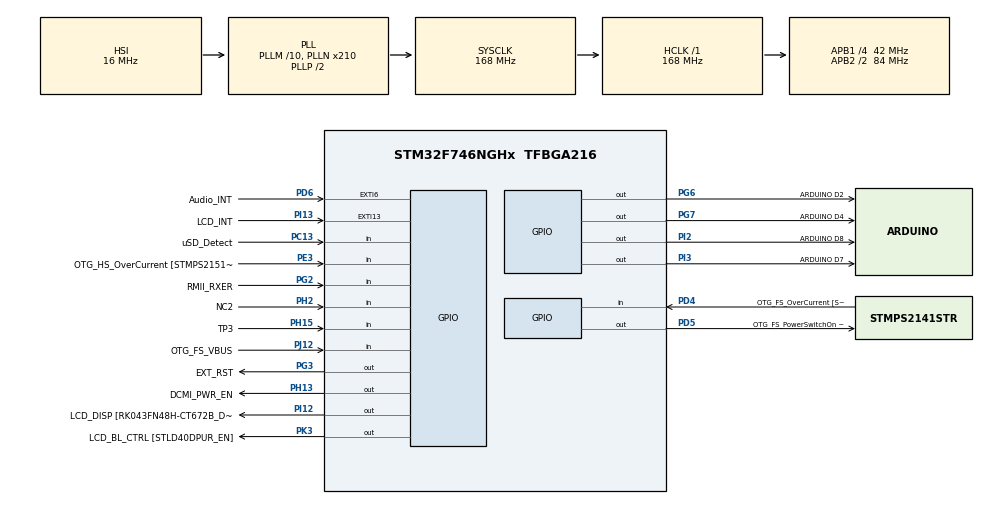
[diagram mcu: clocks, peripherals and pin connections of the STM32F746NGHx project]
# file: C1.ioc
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Mcu.Family=STM32F7
Mcu.Name=STM32F746NGHx
Mcu.Package=TFBGA216
NVIC.PriorityGroup=NVIC_PRIORITYGROUP_4
NVIC.TIM6_DAC_IRQn=true\:0\:0\:false\:false\:true\:false\:true
NVIC.TimeBase=TIM6_DAC_IRQn
NVIC.TimeBaseIP=TIM6
PA0/WKUP.GPIO_Label=ARDUINO A0
PA0/WKUP.GPIO_Mode=GPIO_MODE_ANALOG
PA0/WKUP.GPIO_PuPd=GPIO_NOPULL
PA0/WKUP.Signal=ADCx_IN0
PA1.GPIO_Label=RMII_REF_CLK [LAN8742A-CZ-TR_REFCLK0]
PA1.Signal=ETH_REF_CLK
PA10.GPIO_Label=OTG_FS_ID
PA10.Signal=USB_OTG_FS_ID
PA11.GPIO_Label=OTG_FS_N
PA11.Signal=USB_OTG_FS_DM
PA12.GPIO_Label=OTG_FS_P
PA12.Signal=USB_OTG_FS_DP
PA13.GPIO_Label=SWDIO
PA13.Signal=SYS_JTMS-SWDIO
PA14.GPIO_Label=SWCLK
PA14.Signal=SYS_JTCK-SWCLK
PA15.GPIO_Label=ARDUINO PWM/D9
PA15.GPIO_ModeDefaultPP=GPIO_MODE_AF_PP
PA15.GPIO_PuPd=GPIO_NOPULL
PA15.GPIO_Speed=GPIO_SPEED_FREQ_LOW
PA15.Signal=S_TIM2_CH1_ETR
PA2.GPIO_Label=RMII_MDIO [LAN8742A-CZ-TR_MDIO]
PA2.Signal=ETH_MDIO
PA3.GPIO_Label=ULPI_D0 [USB3320C-EZK_D0]
PA3.Signal=USB_OTG_HS_ULPI_D0
PA4.GPIO_Label=DCMI_HSYNC
PA4.Signal=DCMI_HSYNC
PA5.GPIO_Label=ULPI_CLK [USB3320C-EZK_CLKOUT]
PA5.Signal=USB_OTG_HS_ULPI_CK
PA6.Signal=DCMI_PIXCLK
PA7.GPIO_Label=RMII_CRS_DV [LAN8742A-CZ-TR_CRS_DV]
PA7.Signal=ETH_CRS_DV
PA8.GPIO_Label=ARDUINO PWM/D10
PA8.GPIO_ModeDefaultPP=GPIO_MODE_AF_PP
PA8.GPIO_PuPd=GPIO_NOPULL
PA8.GPIO_Speed=GPIO_SPEED_FREQ_LOW
PA8.Signal=S_TIM1_CH1
PA9.GPIO_Label=VCP_TX [STM32F103CBT6_PA3]
PA9.GPIO_Mode=GPIO_MODE_AF_PP
PA9.GPIO_PuPd=GPIO_NOPULL
PA9.GPIO_Speed=GPIO_SPEED_FREQ_LOW
PA9.Signal=USART1_TX
PB0.GPIO_Label=ULPI_D1 [USB3320C-EZK_D1]
PB0.Signal=USB_OTG_HS_ULPI_D1
PB1.GPIO_Label=ULPI_D2 [USB3320C-EZK_D2]
PB1.Signal=USB_OTG_HS_ULPI_D2
PB10.GPIO_Label=ULPI_D3 [USB3320C-EZK_D3]
PB10.Signal=USB_OTG_HS_ULPI_D3
PB11.GPIO_Label=ULPI_D4 [USB3320C-EZK_D4]
PB11.Signal=USB_OTG_HS_ULPI_D4
PB12.GPIO_Label=ULPI_D5 [USB3320C-EZK_D5]
PB12.Signal=USB_OTG_HS_ULPI_D5
PB13.GPIO_Label=ULPI_D6 [USB3320C-EZK_D6]
PB13.Signal=USB_OTG_HS_ULPI_D6
PB14.GPIO_Label=ARDUINO MISO/D12
PB14.GPIO_Mode=GPIO_MODE_AF_PP
PB14.GPIO_PuPd=GPIO_NOPULL
PB14.GPIO_Speed=GPIO_SPEED_FREQ_LOW
PB14.Signal=SPI2_MISO
PB15.GPIO_Label=ARDUINO MOSI/PWM/D11
PB15.GPIO_Mode=GPIO_MODE_AF_PP
PB15.GPIO_PuPd=GPIO_NOPULL
PB15.GPIO_Speed=GPIO_SPEED_FREQ_LOW
PB15.Signal=SPI2_MOSI
PB2.Signal=QUADSPI_CLK
PB3.GPIO_Label=SWO
PB3.Signal=SYS_JTDO-SWO
PB4.GPIO_Label=ARDUINO PWM/D3
PB4.GPIO_ModeDefaultPP=GPIO_MODE_AF_PP
PB4.GPIO_PuPd=GPIO_NOPULL
PB4.GPIO_Speed=GPIO_SPEED_FREQ_LOW
PB4.Signal=S_TIM3_CH1
PB5.GPIO_Label=ULPI_D7 [USB3320C-EZK_D7]
PB5.Signal=USB_OTG_HS_ULPI_D7
PB6.GPIO_Label=QSPI_NCS [N25Q128A13EF840E_S]
PB6.Signal=QUADSPI_BK1_NCS
PB7.GPIO_Label=VCP_RX [STM32F103CBT6_PA2]
PB7.GPIO_Mode=GPIO_MODE_AF_PP
PB7.GPIO_PuPd=GPIO_NOPULL
PB7.GPIO_Speed=GPIO_SPEED_FREQ_LOW
PB7.Signal=USART1_RX
PB8.GPIO_Label=ARDUINO SCL/D15
PB8.GPIO_Mode=GPIO_MODE_AF_OD
PB8.GPIO_PuPd=GPIO_NOPULL
PB8.GPIO_Speed=GPIO_SPEED_FREQ_LOW
PB8.Signal=I2C1_SCL
PB9.GPIO_Label=ARDUINO SDA/D14
PB9.GPIO_Mode=GPIO_MODE_AF_OD
PB9.GPIO_PuPd=GPIO_NOPULL
PB9.GPIO_Speed=GPIO_SPEED_FREQ_LOW
PB9.Signal=I2C1_SDA
PC0.GPIO_Label=ULPI_STP [USB3320C-EZK_STP]
PC0.Signal=USB_OTG_HS_ULPI_STP
PC1.GPIO_Label=RMII_MDC [LAN8742A-CZ-TR_MDC]
PC1.Signal=ETH_MDC
PC10.GPIO_Label=SDMMC_D2
PC10.Signal=SDMMC1_D2
PC11.GPIO_Label=SDMMC_D3
PC11.Signal=SDMMC1_D3
PC12.GPIO_Label=SDMMC_CK
PC12.Signal=SDMMC1_CK
PC13.GPIO_Label=uSD_Detect
PC13.Signal=GPIO_Input
PC14/OSC32_IN.GPIO_Label=RCC_OSC32_IN
PC14/OSC32_IN.Signal=RCC_OSC32_IN
PC15/OSC32_OUT.GPIO_Label=RCC_OSC32_OUT
PC15/OSC32_OUT.Signal=RCC_OSC32_OUT
PC2.GPIO_Label=ULPI_DIR [USB3320C-EZK_DIR]
PC2.Signal=USB_OTG_HS_ULPI_DIR
PC3.GPIO_Label=FMC_SDCKE0 [MT48LC4M32B2B5-6A_CKE]
PC3.Signal=FMC_SDCKE0
PC4.GPIO_Label=RMII_RXD0 [LAN8742A-CZ-TR_RXD0]
PC4.Signal=ETH_RXD0
PC5.GPIO_Label=RMII_RXD1 [LAN8742A-CZ-TR_RXD1]
PC5.Signal=ETH_RXD1
PC6.GPIO_Label=ARDUINO TX/D1
PC6.Signal=USART6_TX
PC7.GPIO_Label=ARDUINO RX/D0
PC7.Signal=USART6_RX
PC8.Signal=SDMMC1_D0
PC9.Signal=SDMMC1_D1
PD0.GPIO_Label=FMC_D2 [MT48LC4M32B2B5-6A_DQ2]
PD0.Signal=FMC_D2_DA2
PD1.GPIO_Label=FMC_D3 [MT48LC4M32B2B5-6A_DQ3]
PD1.Signal=FMC_D3_DA3
PD10.GPIO_Label=FMC_D15 [MT48LC4M32B2B5-6A_DQ15]
PD10.Signal=FMC_D15_DA15
PD11.GPIO_Label=QSPI_D0 [N25Q128A13EF840E_DQ0]
PD11.Signal=QUADSPI_BK1_IO0
PD12.GPIO_Label=QSPI_D1 [N25Q128A13EF840E_DQ1]
PD12.Signal=QUADSPI_BK1_IO1
PD13.GPIO_Label=QSPI_D3 [N25Q128A13EF840E_DQ3]
PD13.Signal=QUADSPI_BK1_IO3
PD14.GPIO_Label=FMC_D0 [MT48LC4M32B2B5-6A_DQ0]
PD14.Signal=FMC_D0_DA0
PD15.GPIO_Label=FMC_D1 [MT48LC4M32B2B5-6A_DQ1]
PD15.Signal=FMC_D1_DA1
PD2.GPIO_Label=SDMMC_D0
PD2.Signal=SDMMC1_CMD
PD3.GPIO_Label=DCMI_D5
PD3.Signal=DCMI_D5
PD4.GPIO_Label=OTG_FS_OverCurrent [STMPS2141STR_Fault]
PD4.Signal=GPIO_Input
PD5.GPIO_Label=OTG_FS_PowerSwitchOn [STMPS2141STR_EN]
PD5.PinState=GPIO_PIN_SET
PD5.Signal=GPIO_Output
PD6.GPIO_Label=Audio_INT
PD6.GPIO_ModeDefaultEXTI=GPIO_MODE_EVT_RISING
PD6.Signal=GPXTI6
PD7.GPIO_Label=SPDIF_RX0 [74LVC1G04SE_4]
PD7.Signal=SPDIFRX_IN0
PD8.GPIO_Label=FMC_D13 [MT48LC4M32B2B5-6A_DQ13]
PD8.Signal=FMC_D13_DA13
PD9.GPIO_Label=FMC_D14 [MT48LC4M32B2B5-6A_DQ14]
PD9.Signal=FMC_D14_DA14
PE0.GPIO_Label=FMC_NBL0 [MT48LC4M32B2B5-6A_DQM0]
PE0.Signal=FMC_NBL0
PE1.GPIO_Label=FMC_NBL1 [MT48LC4M32B2B5-6A_DQM1]
PE1.Signal=FMC_NBL1
PE10.GPIO_Label=FMC_D7 [MT48LC4M32B2B5-6A_DQ7]
PE10.Signal=FMC_D7_DA7
PE11.GPIO_Label=FMC_D8 [MT48LC4M32B2B5-6A_DQ8]
PE11.Signal=FMC_D8_DA8
PE12.GPIO_Label=FMC_D9 [MT48LC4M32B2B5-6A_DQ9]
PE12.Signal=FMC_D9_DA9
PE13.GPIO_Label=FMC_D10 [MT48LC4M32B2B5-6A_DQ10]
PE13.Signal=FMC_D10_DA10
PE14.GPIO_Label=FMC_D11 [MT48LC4M32B2B5-6A_DQ11]
PE14.Signal=FMC_D11_DA11
PE15.GPIO_Label=FMC_D12 [MT48LC4M32B2B5-6A_DQ12]
PE15.Signal=FMC_D12_DA12
PE2.GPIO_Label=QSPI_D2 [N25Q128A13EF840E_DQ2]
PE2.Signal=QUADSPI_BK1_IO2
PE3.GPIO_Label=OTG_HS_OverCurrent [STMPS2151STR_FAULT]
PE3.Signal=GPIO_Input
PE4.GPIO_Label=LCD_B0 [RK043FN48H-CT672B_B0]
PE4.Signal=LTDC_B0
PE5.GPIO_Label=DCMI_D6
PE5.Signal=DCMI_D6
PE6.GPIO_Label=DCMI_D7
PE6.Signal=DCMI_D7
PE7.GPIO_Label=FMC_D4 [MT48LC4M32B2B5-6A_DQ4]
PE7.Signal=FMC_D4_DA4
PE8.GPIO_Label=FMC_D5 [MT48LC4M32B2B5-6A_DQ5]
PE8.Signal=FMC_D5_DA5
PE9.GPIO_Label=FMC_D6 [MT48LC4M32B2B5-6A_DQ6]
PE9.Signal=FMC_D6_DA6
PF0.GPIO_Label=FMC_A0 [MT48LC4M32B2B5-6A_A0]
PF0.Signal=FMC_A0
PF1.GPIO_Label=FMC_A1 [MT48LC4M32B2B5-6A_A1]
PF1.Signal=FMC_A1
PF10.GPIO_Label=ARDUINO A1
PF10.GPIO_Mode=GPIO_MODE_ANALOG
PF10.GPIO_PuPd=GPIO_NOPULL
PF10.Signal=ADC3_IN8
PF11.GPIO_Label=FMC_SDNRAS [MT48LC4M32B2B5-6A_RAS]
PF11.Signal=FMC_SDNRAS
PF12.GPIO_Label=FMC_A6 [MT48LC4M32B2B5-6A_A6]
PF12.Signal=FMC_A6
PF13.GPIO_Label=FMC_A7 [MT48LC4M32B2B5-6A_A7]
PF13.Signal=FMC_A7
PF14.GPIO_Label=FMC_A8 [MT48LC4M32B2B5-6A_A8]
PF14.Signal=FMC_A8
PF15.GPIO_Label=FMC_A9 [MT48LC4M32B2B5-6A_A9]
PF15.Signal=FMC_A9
PF2.GPIO_Label=FMC_A2 [MT48LC4M32B2B5-6A_A2]
PF2.Signal=FMC_A2
PF3.GPIO_Label=FMC_A3 [MT48LC4M32B2B5-6A_A3]
PF3.Signal=FMC_A3
PF4.GPIO_Label=FMC_A4 [MT48LC4M32B2B5-6A_A4]
PF4.Signal=FMC_A4
PF5.GPIO_Label=FMC_A5 [MT48LC4M32B2B5-6A_A5]
PF5.Signal=FMC_A5
PF6.GPIO_Label=ARDUINO A5
PF6.GPIO_Mode=GPIO_MODE_ANALOG
PF6.GPIO_PuPd=GPIO_NOPULL
PF6.Signal=ADC3_IN4
PF7.GPIO_Label=ARDUINO A4
PF7.GPIO_Mode=GPIO_MODE_ANALOG
PF7.GPIO_PuPd=GPIO_NOPULL
PF7.Signal=ADC3_IN5
PF8.GPIO_Label=ARDUINO A3
PF8.GPIO_Mode=GPIO_MODE_ANALOG
PF8.GPIO_PuPd=GPIO_NOPULL
PF8.Signal=ADC3_IN6
PF9.GPIO_Label=ARDUINO A2
PF9.GPIO_Mode=GPIO_MODE_ANALOG
PF9.GPIO_PuPd=GPIO_NOPULL
PF9.Signal=ADC3_IN7
PG0.GPIO_Label=FMC_A10 [MT48LC4M32B2B5-6A_A10]
PG0.Signal=FMC_A10
PG1.GPIO_Label=FMC_A11 [MT48LC4M32B2B5-6A_A11]
PG1.Signal=FMC_A11
PG10.GPIO_Label=SAI2_SDB [WM8994ECS/R_ADCDAT1]
PG10.Signal=SAI2_SD_B
PG11.GPIO_Label=RMII_TX_EN [LAN8742A-CZ-TR_TXEN]
PG11.Signal=ETH_TX_EN
PG12.GPIO_Label=LCD_B4 [RK043FN48H-CT672B_B4]
PG12.Signal=LTDC_B4
PG13.GPIO_Label=RMII_TXD0 [LAN8742A-CZ-TR_TXD0]
PG13.Signal=ETH_TXD0
PG14.GPIO_Label=RMII_TXD1 [LAN8742A-CZ-TR_TXD1]
PG14.Signal=ETH_TXD1
PG15.GPIO_Label=FMC_SDNCAS [MT48LC4M32B2B5-6A_CAS]
PG15.Signal=FMC_SDNCAS
PG2.GPIO_Label=RMII_RXER
PG2.Signal=GPIO_Input
PG3.GPIO_Label=EXT_RST
PG3.Signal=GPIO_Output
PG4.GPIO_Label=FMC_BA0 [MT48LC4M32B2B5-6A_BA0]
PG4.Signal=FMC_A14_BA0
PG5.GPIO_Label=FMC_BA1 [MT48LC4M32B2B5-6A_BA1]
PG5.Signal=FMC_A15_BA1
PG6.GPIO_Label=ARDUINO D2
PG6.Signal=GPIO_Output
PG7.GPIO_Label=ARDUINO D4
PG7.Signal=GPIO_Output
PG8.GPIO_Label=FMC_SDCLK [MT48LC4M32B2B5-6A_CLK]
PG8.Signal=FMC_SDCLK
PG9.GPIO_Label=DCMI_VSYNC
PG9.Signal=DCMI_VSYNC
PH0/OSC_IN.GPIO_Label=OSC_25M [NZ2520SB-25.00M_OUT]
PH0/OSC_IN.Signal=RCC_OSC_IN
PH1/OSC_OUT.Signal=RCC_OSC_OUT
PH10.GPIO_Label=DCMI_D1
PH10.Signal=DCMI_D1
PH11.GPIO_Label=DCMI_D2
PH11.Signal=DCMI_D2
PH12.GPIO_Label=DCMI_D3
PH12.Signal=DCMI_D3
PH13.GPIO_Label=DCMI_PWR_EN
PH13.Signal=GPIO_Output
PH14.GPIO_Label=DCMI_D4
PH14.Signal=DCMI_D4
PH15.GPIO_Label=TP3
PH15.Signal=GPIO_Input
PH2.GPIO_Label=NC2
PH2.Signal=GPIO_Input
PH3.GPIO_Label=FMC_SDNE0 [MT48LC4M32B2B5-6A_CS]
PH3.Signal=FMC_SDNE0
PH4.GPIO_Label=ULPI_NXT [USB3320C-EZK_NXT]
PH4.Signal=USB_OTG_HS_ULPI_NXT
PH5.GPIO_Label=FMC_SDNME [MT48LC4M32B2B5-6A_WE]
PH5.Signal=FMC_SDNWE
PH6.GPIO_Label=ARDUINO PWM/D6
PH6.Signal=S_TIM12_CH1
PH7.GPIO_Label=LCD_SCL [RK043FN48H-CT672B_SCL]
PH7.Signal=I2C3_SCL
PH8.GPIO_Label=LCD_SDA [RK043FN48H-CT672B_SDA]
PH8.Signal=I2C3_SDA
PH9.GPIO_Label=DCMI_D0
PH9.Signal=DCMI_D0
PI0.GPIO_Label=ARDUINO PWM/CS/D5
PI0.GPIO_ModeDefaultPP=GPIO_MODE_AF_PP
PI0.GPIO_PuPd=GPIO_NOPULL
PI0.GPIO_Speed=GPIO_SPEED_FREQ_LOW
PI0.Signal=S_TIM5_CH4
PI1.GPIO_Label=ARDUINO SCK/D13
PI1.GPIO_Mode=GPIO_MODE_AF_PP
PI1.GPIO_PuPd=GPIO_NOPULL
PI1.GPIO_Speed=GPIO_SPEED_FREQ_LOW
PI1.Signal=SPI2_SCK
PI10.GPIO_Label=LCD_HSYNC [RK043FN48H-CT672B_HSYNC]
PI10.Signal=LTDC_HSYNC
PI12.GPIO_Label=LCD_DISP [RK043FN48H-CT672B_DISP] 
PI12.Signal=GPIO_Output
PI13.GPIO_Label=LCD_INT
PI13.GPIO_ModeDefaultEXTI=GPIO_MODE_EVT_RISING
PI13.Signal=GPXTI13
PI14.GPIO_Label=LCD_CLK [RK043FN48H-CT672B_CLK]
PI14.Signal=LTDC_CLK
PI15.GPIO_Label=LCD_R0 [RK043FN48H-CT672B_R0]
PI15.Signal=LTDC_R0
PI2.GPIO_Label=ARDUINO D8
PI2.Signal=GPIO_Output
PI3.GPIO_Label=ARDUINO D7
PI3.Signal=GPIO_Output
PI4.GPIO_Label=SAI2_MCLKA [WM8994ECS/R_MCLK1]
PI4.Signal=SAI2_MCLK_A
PI5.GPIO_Label=SAI2_SCKA [WM8994ECS/R_BCLK1]
PI5.Signal=SAI2_SCK_A
PI6.GPIO_Label=SAI2_SDA [WM8994ECS/R_DACDAT1]
PI6.Signal=SAI2_SD_A
PI7.GPIO_Label=SAI2_FSA [WM8994ECS/R_LRCLK1]
PI7.Signal=SAI2_FS_A
PI8.GPIO_Label=NC1 [TP2]
PI8.Signal=RTC_TS
PI9.GPIO_Label=LCD_VSYNC [RK043FN48H-CT672B_VSYNC]
PI9.Signal=LTDC_VSYNC
PJ0.GPIO_Label=LCD_R1 [RK043FN48H-CT672B_R1]
PJ0.Signal=LTDC_R1
PJ1.GPIO_Label=LCD_R2 [RK043FN48H-CT672B_R2]
PJ1.Signal=LTDC_R2
PJ10.GPIO_Label=LCD_G3 [RK043FN48H-CT672B_G3]
PJ10.Signal=LTDC_G3
PJ11.GPIO_Label=LCD_G4 [RK043FN48H-CT672B_G4]
PJ11.Signal=LTDC_G4
PJ12.GPIO_Label=OTG_FS_VBUS
PJ12.Signal=GPIO_Input
PJ13.GPIO_Label=LCD_B1 [RK043FN48H-CT672B_B1]
PJ13.Signal=LTDC_B1
PJ14.GPIO_Label=LCD_B2 [RK043FN48H-CT672B_B2]
PJ14.Signal=LTDC_B2
PJ15.GPIO_Label=LCD_B3 [RK043FN48H-CT672B_B3]
PJ15.Signal=LTDC_B3
PJ2.GPIO_Label=LCD_R3 [RK043FN48H-CT672B_R3]
PJ2.Signal=LTDC_R3
PJ3.GPIO_Label=LCD_R4 [RK043FN48H-CT672B_R4]
PJ3.Signal=LTDC_R4
PJ4.GPIO_Label=LCD_R5 [RK043FN48H-CT672B_R5]
PJ4.Signal=LTDC_R5
PJ5.GPIO_Label=LCD_R6 [RK043FN48H-CT672B_R6]
PJ5.Signal=LTDC_R6
PJ6.GPIO_Label=LCD_R7 [RK043FN48H-CT672B_R7]
PJ6.Signal=LTDC_R7
PJ7.GPIO_Label=LCD_G0 [RK043FN48H-CT672B_G0]
PJ7.Signal=LTDC_G0
PJ8.GPIO_Label=LCD_G1 [RK043FN48H-CT672B_G1]
PJ8.Signal=LTDC_G1
PJ9.GPIO_Label=LCD_G2 [RK043FN48H-CT672B_G2]
PJ9.Signal=LTDC_G2
PK0.GPIO_Label=LCD_G5 [RK043FN48H-CT672B_G5]
PK0.Signal=LTDC_G5
PK1.GPIO_Label=LCD_G6 [RK043FN48H-CT672B_G6]
PK1.Signal=LTDC_G6
PK2.GPIO_Label=LCD_G7 [RK043FN48H-CT672B_G7]
PK2.Signal=LTDC_G7
PK3.GPIO_Label=LCD_BL_CTRL [STLD40DPUR_EN]
PK3.Signal=GPIO_Output
PK4.GPIO_Label=LCD_B5 [RK043FN48H-CT672B_B5]
PK4.Signal=LTDC_B5
PK5.GPIO_Label=LCD_B6 [RK043FN48H-CT672B_B6]
PK5.Signal=LTDC_B6
PK6.GPIO_Label=LCD_B7 [RK043FN48H-CT672B_B7]
PK6.Signal=LTDC_B7
PK7.GPIO_Label=LCD_DE [RK043FN48H-CT672B_DE]
PK7.Signal=LTDC_DE
ProjectManager.HeapSize=0x200
ProjectManager.StackSize=0x400
ProjectManager.TargetToolchain=STM32CubeIDE
RCC.AHBFreq_Value=168000000
RCC.APB1CLKDivider=RCC_HCLK_DIV4
RCC.APB1Freq_Value=42000000
RCC.APB1TimFreq_Value=84000000
RCC.APB2CLKDivider=RCC_HCLK_DIV2
RCC.APB2Freq_Value=84000000
RCC.APB2TimFreq_Value=168000000
RCC.CortexFreq_Value=168000000
RCC.HCLKFreq_Value=168000000
RCC.HSE_VALUE=25000000
RCC.HSI_VALUE=16000000
RCC.LSE_VALUE=32768
RCC.PLLM=10
RCC.PLLN=210
RCC.PLLSourceVirtual=RCC_PLLSOURCE_HSI
RCC.SYSCLKFreq_VALUE=168000000
RCC.SYSCLKSource=RCC_SYSCLKSOURCE_PLLCLK
RCC.USBFreq_Value=168000000
RCC.VCOOutputFreq_Value=336000000
SH.ADCx_IN0.0=ADC3_IN0
SH.FMC_A0.0=FMC_A0
SH.FMC_A1.0=FMC_A1
SH.FMC_A10.0=FMC_A10
SH.FMC_A11.0=FMC_A11
SH.FMC_A14_BA0.0=FMC_BA0
SH.FMC_A15_BA1.0=FMC_BA1
SH.FMC_A2.0=FMC_A2
SH.FMC_A3.0=FMC_A3
SH.FMC_A4.0=FMC_A4
SH.FMC_A5.0=FMC_A5
SH.FMC_A6.0=FMC_A6
SH.FMC_A7.0=FMC_A7
SH.FMC_A8.0=FMC_A8
SH.FMC_A9.0=FMC_A9
SH.FMC_D0_DA0.0=FMC_D0
SH.FMC_D10_DA10.0=FMC_D10
SH.FMC_D11_DA11.0=FMC_D11
SH.FMC_D12_DA12.0=FMC_D12
SH.FMC_D13_DA13.0=FMC_D13
SH.FMC_D14_DA14.0=FMC_D14
SH.FMC_D15_DA15.0=FMC_D15
SH.FMC_D1_DA1.0=FMC_D1
SH.FMC_D2_DA2.0=FMC_D2
SH.FMC_D3_DA3.0=FMC_D3
SH.FMC_D4_DA4.0=FMC_D4
SH.FMC_D5_DA5.0=FMC_D5
SH.FMC_D6_DA6.0=FMC_D6
SH.FMC_D7_DA7.0=FMC_D7
SH.FMC_D8_DA8.0=FMC_D8
SH.FMC_D9_DA9.0=FMC_D9
SH.FMC_NBL0.0=FMC_NBL0
SH.FMC_NBL1.0=FMC_NBL1
SH.FMC_SDCLK.0=FMC_SDCLK
SH.FMC_SDNCAS.0=FMC_SDNCAS
SH.FMC_SDNRAS.0=FMC_SDNRAS
SH.FMC_SDNWE.0=FMC_SDNWE
SH.S_TIM12_CH1.0=TIM12_CH1
SH.S_TIM1_CH1.0=TIM1_CH1
SH.S_TIM2_CH1_ETR.0=TIM2_CH1
SH.S_TIM3_CH1.0=TIM3_CH1
SH.S_TIM5_CH4.0=TIM5_CH4
VP_SYS_VS_tim6.Mode=TIM6
board=STM32F746G-DISCO

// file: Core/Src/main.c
/* USER CODE BEGIN Header */
/**
  ******************************************************************************
  * @file           : main.c
  * @brief          : Main program body
  ******************************************************************************
  * @attention
  *
  * <h2><center>&copy; Copyright (c) 2021 STMicroelectronics.
  * All rights reserved.</center></h2>
  *
  * This software component is licensed by ST under BSD 3-Clause license,
  * the "License"; You may not use this file except in compliance with the
  * License. You may obtain a copy of the License at:
  *                        opensource.org/licenses/BSD-3-Clause
  *
  ******************************************************************************
  */
/* USER CODE END Header */
#include "main.h"

/* USER CODE BEGIN Includes */
#include "FreeRTOS.h"
#include "task.h"
#include <stdio.h>
/* USER CODE END Includes */

/* USER CODE BEGIN PM */
#define USER_BUTTON_Pin GPIO_PIN_11
#define USER_BUTTON_GPIO_Port GPIOI
/* USER CODE END PM */

/* USER CODE BEGIN PV */
#define DWT_CTRL (*(volatile uint32_t*)0xE0001000)
/* USER CODE END PV */

void SystemClock_Config(void);
static void MX_GPIO_Init(void);
/* USER CODE BEGIN PFP */
static void Task1_Handler(void * parameter);
static void Task2_Handler(void * parameter);
static void Task3_Handler(void* parameter);
/* USER CODE END PFP */

int main(void)
{
  /* USER CODE BEGIN 1 */
	TaskHandle_t Task1_Handle;
	TaskHandle_t Task2_Handle;
	TaskHandle_t Task3_Handle;

	BaseType_t status;
  /* USER CODE END 1 */

  /* MCU Configuration--------------------------------------------------------*/

  /* Reset of all peripherals, Initializes the Flash interface and the Systick. */
  HAL_Init();

  /* Configure the system clock */
  SystemClock_Config();

  /* USER CODE BEGIN SysInit */
 // DWT_CTRL |= (1 << 0);
  SEGGER_SYSVIEW_Conf();

  SEGGER_SYSVIEW_Start();
  /* USER CODE END SysInit */

  /* Initialize all configured peripherals */
  MX_GPIO_Init();
  /* USER CODE BEGIN 2 */

  status = xTaskCreate(Task1_Handler, "WhiteLED", 200, "Hello World From Task-1", 2, &Task1_Handle);
  configASSERT(status == pdPASS);

  status = xTaskCreate(Task2_Handler, "GreenLED", 200, "Hello World From Task-2", 2, &Task2_Handle);
  configASSERT(status == pdPASS);

  status = xTaskCreate(Task3_Handler, "ButtonLED", 200, "Hello World From Task-3", 2, &Task3_Handle);
    configASSERT(status == pdPASS);

  vTaskStartScheduler();
  /* USER CODE END 2 */

  /* Infinite loop */
  while (1)
  {

  }
}

void SystemClock_Config(void)
{
  RCC_OscInitTypeDef RCC_OscInitStruct = {0};
  RCC_ClkInitTypeDef RCC_ClkInitStruct = {0};

  /** Configure the main internal regulator output voltage
  */
  __HAL_RCC_PWR_CLK_ENABLE();
  __HAL_PWR_VOLTAGESCALING_CONFIG(PWR_REGULATOR_VOLTAGE_SCALE2);
  /** Initializes the RCC Oscillators according to the specified parameters
  * in the RCC_OscInitTypeDef structure.
  */
  RCC_OscInitStruct.OscillatorType = RCC_OSCILLATORTYPE_HSI;
  RCC_OscInitStruct.HSIState = RCC_HSI_ON;
  RCC_OscInitStruct.HSICalibrationValue = RCC_HSICALIBRATION_DEFAULT;
  RCC_OscInitStruct.PLL.PLLState = RCC_PLL_ON;
  RCC_OscInitStruct.PLL.PLLSource = RCC_PLLSOURCE_HSI;
  RCC_OscInitStruct.PLL.PLLM = 10;
  RCC_OscInitStruct.PLL.PLLN = 210;
  RCC_OscInitStruct.PLL.PLLP = RCC_PLLP_DIV2;
  RCC_OscInitStruct.PLL.PLLQ = 2;
  if (HAL_RCC_OscConfig(&RCC_OscInitStruct) != HAL_OK)
  {
    Error_Handler();
  }
  /** Initializes the CPU, AHB and APB buses clocks
  */
  RCC_ClkInitStruct.ClockType = RCC_CLOCKTYPE_HCLK|RCC_CLOCKTYPE_SYSCLK
                              |RCC_CLOCKTYPE_PCLK1|RCC_CLOCKTYPE_PCLK2;
  RCC_ClkInitStruct.SYSCLKSource = RCC_SYSCLKSOURCE_PLLCLK;
  RCC_ClkInitStruct.AHBCLKDivider = RCC_SYSCLK_DIV1;
  RCC_ClkInitStruct.APB1CLKDivider = RCC_HCLK_DIV4;
  RCC_ClkInitStruct.APB2CLKDivider = RCC_HCLK_DIV2;

  if (HAL_RCC_ClockConfig(&RCC_ClkInitStruct, FLASH_LATENCY_5) != HAL_OK)
  {
    Error_Handler();
  }
}

static void MX_GPIO_Init(void)
{
  GPIO_InitTypeDef GPIO_InitStruct = {0};

  /* GPIO Ports Clock Enable */
  __HAL_RCC_GPIOE_CLK_ENABLE();
  __HAL_RCC_GPIOG_CLK_ENABLE();
  __HAL_RCC_GPIOB_CLK_ENABLE();
  __HAL_RCC_GPIOD_CLK_ENABLE();
  __HAL_RCC_GPIOC_CLK_ENABLE();
  __HAL_RCC_GPIOA_CLK_ENABLE();
  __HAL_RCC_GPIOJ_CLK_ENABLE();
  __HAL_RCC_GPIOI_CLK_ENABLE();
  __HAL_RCC_GPIOK_CLK_ENABLE();
  __HAL_RCC_GPIOF_CLK_ENABLE();
  __HAL_RCC_GPIOH_CLK_ENABLE();

  /*Configure GPIO pin Output Level */
  HAL_GPIO_WritePin(OTG_FS_PowerSwitchOn_GPIO_Port, OTG_FS_PowerSwitchOn_Pin, GPIO_PIN_SET);

  /*Configure GPIO pin Output Level */
  HAL_GPIO_WritePin(GPIOI, ARDUINO_D7_Pin|ARDUINO_D8_Pin|LCD_DISP_Pin, GPIO_PIN_RESET);

  /*Configure GPIO pin Output Level */
  HAL_GPIO_WritePin(LCD_BL_CTRL_GPIO_Port, LCD_BL_CTRL_Pin, GPIO_PIN_RESET);

  /*Configure GPIO pin Output Level */
  HAL_GPIO_WritePin(DCMI_PWR_EN_GPIO_Port, DCMI_PWR_EN_Pin, GPIO_PIN_RESET);

  /*Configure GPIO pin Output Level */
  HAL_GPIO_WritePin(GPIOG, ARDUINO_D4_Pin|ARDUINO_D2_Pin|EXT_RST_Pin, GPIO_PIN_RESET);

  /*Configure GPIO pin : LCD_B0_Pin */
  GPIO_InitStruct.Pin = LCD_B0_Pin;
  GPIO_InitStruct.Mode = GPIO_MODE_AF_PP;
  GPIO_InitStruct.Pull = GPIO_NOPULL;
  GPIO_InitStruct.Speed = GPIO_SPEED_FREQ_LOW;
  GPIO_InitStruct.Alternate = GPIO_AF14_LTDC;
  HAL_GPIO_Init(LCD_B0_GPIO_Port, &GPIO_InitStruct);

  /*Configure GPIO pin : OTG_HS_OverCurrent_Pin */
  GPIO_InitStruct.Pin = OTG_HS_OverCurrent_Pin;
  GPIO_InitStruct.Mode = GPIO_MODE_INPUT;
  GPIO_InitStruct.Pull = GPIO_NOPULL;
  HAL_GPIO_Init(OTG_HS_OverCurrent_GPIO_Port, &GPIO_InitStruct);

  /*Configure GPIO pin : QSPI_D2_Pin */
  GPIO_InitStruct.Pin = QSPI_D2_Pin;
  GPIO_InitStruct.Mode = GPIO_MODE_AF_PP;
  GPIO_InitStruct.Pull = GPIO_NOPULL;
  GPIO_InitStruct.Speed = GPIO_SPEED_FREQ_VERY_HIGH;
  GPIO_InitStruct.Alternate = GPIO_AF9_QUADSPI;
  HAL_GPIO_Init(QSPI_D2_GPIO_Port, &GPIO_InitStruct);

  /*Configure GPIO pins : RMII_TXD1_Pin RMII_TXD0_Pin RMII_TX_EN_Pin */
  GPIO_InitStruct.Pin = RMII_TXD1_Pin|RMII_TXD0_Pin|RMII_TX_EN_Pin;
  GPIO_InitStruct.Mode = GPIO_MODE_AF_PP;
  GPIO_InitStruct.Pull = GPIO_NOPULL;
  GPIO_InitStruct.Speed = GPIO_SPEED_FREQ_VERY_HIGH;
  GPIO_InitStruct.Alternate = GPIO_AF11_ETH;
  HAL_GPIO_Init(GPIOG, &GPIO_InitStruct);

  /*Configure GPIO pins : FMC_NBL1_Pin FMC_NBL0_Pin FMC_D5_Pin FMC_D6_Pin
                           FMC_D8_Pin FMC_D11_Pin FMC_D4_Pin FMC_D7_Pin
                           FMC_D9_Pin FMC_D12_Pin FMC_D10_Pin */
  GPIO_InitStruct.Pin = FMC_NBL1_Pin|FMC_NBL0_Pin|FMC_D5_Pin|FMC_D6_Pin
                          |FMC_D8_Pin|FMC_D11_Pin|FMC_D4_Pin|FMC_D7_Pin
                          |FMC_D9_Pin|FMC_D12_Pin|FMC_D10_Pin;
  GPIO_InitStruct.Mode = GPIO_MODE_AF_PP;
  GPIO_InitStruct.Pull = GPIO_NOPULL;
  GPIO_InitStruct.Speed = GPIO_SPEED_FREQ_VERY_HIGH;
  GPIO_InitStruct.Alternate = GPIO_AF12_FMC;
  HAL_GPIO_Init(GPIOE, &GPIO_InitStruct);

  /*Configure GPIO pins : ARDUINO_SCL_D15_Pin ARDUINO_SDA_D14_Pin */
  GPIO_InitStruct.Pin = ARDUINO_SCL_D15_Pin|ARDUINO_SDA_D14_Pin;
  GPIO_InitStruct.Mode = GPIO_MODE_AF_OD;
  GPIO_InitStruct.Pull = GPIO_PULLUP;
  GPIO_InitStruct.Speed = GPIO_SPEED_FREQ_LOW;
  GPIO_InitStruct.Alternate = GPIO_AF4_I2C1;
  HAL_GPIO_Init(GPIOB, &GPIO_InitStruct);

  /*Configure GPIO pins : ULPI_D7_Pin ULPI_D6_Pin ULPI_D5_Pin ULPI_D3_Pin
                           ULPI_D2_Pin ULPI_D1_Pin ULPI_D4_Pin */
  GPIO_InitStruct.Pin = ULPI_D7_Pin|ULPI_D6_Pin|ULPI_D5_Pin|ULPI_D3_Pin
                          |ULPI_D2_Pin|ULPI_D1_Pin|ULPI_D4_Pin;
  GPIO_InitStruct.Mode = GPIO_MODE_AF_PP;
  GPIO_InitStruct.Pull = GPIO_NOPULL;
  GPIO_InitStruct.Speed = GPIO_SPEED_FREQ_VERY_HIGH;
  GPIO_InitStruct.Alternate = GPIO_AF10_OTG_HS;
  HAL_GPIO_Init(GPIOB, &GPIO_InitStruct);

  /*Configure GPIO pin : ARDUINO_PWM_D3_Pin */
  GPIO_InitStruct.Pin = ARDUINO_PWM_D3_Pin;
  GPIO_InitStruct.Mode = GPIO_MODE_AF_PP;
  GPIO_InitStruct.Pull = GPIO_NOPULL;
  GPIO_InitStruct.Speed = GPIO_SPEED_FREQ_LOW;
  GPIO_InitStruct.Alternate = GPIO_AF2_TIM3;
  HAL_GPIO_Init(ARDUINO_PWM_D3_GPIO_Port, &GPIO_InitStruct);

  /*Configure GPIO pin : SPDIF_RX0_Pin */
  GPIO_InitStruct.Pin = SPDIF_RX0_Pin;
  GPIO_InitStruct.Mode = GPIO_MODE_AF_PP;
  GPIO_InitStruct.Pull = GPIO_NOPULL;
  GPIO_InitStruct.Speed = GPIO_SPEED_FREQ_LOW;
  GPIO_InitStruct.Alternate = GPIO_AF8_SPDIFRX;
  HAL_GPIO_Init(SPDIF_RX0_GPIO_Port, &GPIO_InitStruct);

  /*Configure GPIO pins : SDMMC_CK_Pin SDMMC_D3_Pin SDMMC_D2_Pin PC9
                           PC8 */
  GPIO_InitStruct.Pin = SDMMC_CK_Pin|SDMMC_D3_Pin|SDMMC_D2_Pin|GPIO_PIN_9
                          |GPIO_PIN_8;
  GPIO_InitStruct.Mode = GPIO_MODE_AF_PP;
  GPIO_InitStruct.Pull = GPIO_NOPULL;
  GPIO_InitStruct.Speed = GPIO_SPEED_FREQ_VERY_HIGH;
  GPIO_InitStruct.Alternate = GPIO_AF12_SDMMC1;
  HAL_GPIO_Init(GPIOC, &GPIO_InitStruct);

  /*Configure GPIO pin : ARDUINO_PWM_D9_Pin */
  GPIO_InitStruct.Pin = ARDUINO_PWM_D9_Pin;
  GPIO_InitStruct.Mode = GPIO_MODE_AF_PP;
  GPIO_InitStruct.Pull = GPIO_NOPULL;
  GPIO_InitStruct.Speed = GPIO_SPEED_FREQ_LOW;
  GPIO_InitStruct.Alternate = GPIO_AF1_TIM2;
  HAL_GPIO_Init(ARDUINO_PWM_D9_GPIO_Port, &GPIO_InitStruct);

  /*Configure GPIO pins : DCMI_D6_Pin DCMI_D7_Pin */
  GPIO_InitStruct.Pin = DCMI_D6_Pin|DCMI_D7_Pin;
  GPIO_InitStruct.Mode = GPIO_MODE_AF_PP;
  GPIO_InitStruct.Pull = GPIO_NOPULL;
  GPIO_InitStruct.Speed = GPIO_SPEED_FREQ_LOW;
  GPIO_InitStruct.Alternate = GPIO_AF13_DCMI;
  HAL_GPIO_Init(GPIOE, &GPIO_InitStruct);

  /*Configure GPIO pin : VCP_RX_Pin */
  GPIO_InitStruct.Pin = VCP_RX_Pin;
  GPIO_InitStruct.Mode = GPIO_MODE_AF_PP;
  GPIO_InitStruct.Pull = GPIO_NOPULL;
  GPIO_InitStruct.Speed = GPIO_SPEED_FREQ_LOW;
  GPIO_InitStruct.Alternate = GPIO_AF7_USART1;
  HAL_GPIO_Init(VCP_RX_GPIO_Port, &GPIO_InitStruct);

  /*Configure GPIO pin : QSPI_NCS_Pin */
  GPIO_InitStruct.Pin = QSPI_NCS_Pin;
  GPIO_InitStruct.Mode = GPIO_MODE_AF_PP;
  GPIO_InitStruct.Pull = GPIO_NOPULL;
  GPIO_InitStruct.Speed = GPIO_SPEED_FREQ_VERY_HIGH;
  GPIO_InitStruct.Alternate = GPIO_AF10_QUADSPI;
  HAL_GPIO_Init(QSPI_NCS_GPIO_Port, &GPIO_InitStruct);

  /*Configure GPIO pins : FMC_SDNCAS_Pin FMC_SDCLK_Pin FMC_A11_Pin FMC_A10_Pin
                           FMC_BA1_Pin FMC_BA0_Pin */
  GPIO_InitStruct.Pin = FMC_SDNCAS_Pin|FMC_SDCLK_Pin|FMC_A11_Pin|FMC_A10_Pin
                          |FMC_BA1_Pin|FMC_BA0_Pin;
  GPIO_InitStruct.Mode = GPIO_MODE_AF_PP;
  GPIO_InitStruct.Pull = GPIO_NOPULL;
  GPIO_InitStruct.Speed = GPIO_SPEED_FREQ_VERY_HIGH;
  GPIO_InitStruct.Alternate = GPIO_AF12_FMC;
  HAL_GPIO_Init(GPIOG, &GPIO_InitStruct);

  /*Configure GPIO pins : LCD_B1_Pin LCD_B2_Pin LCD_B3_Pin LCD_G4_Pin
                           LCD_G1_Pin LCD_G3_Pin LCD_G0_Pin LCD_G2_Pin
                           LCD_R7_Pin LCD_R5_Pin LCD_R6_Pin LCD_R4_Pin
                           LCD_R3_Pin LCD_R1_Pin LCD_R2_Pin */
  GPIO_InitStruct.Pin = LCD_B1_Pin|LCD_B2_Pin|LCD_B3_Pin|LCD_G4_Pin
                          |LCD_G1_Pin|LCD_G3_Pin|LCD_G0_Pin|LCD_G2_Pin
                          |LCD_R7_Pin|LCD_R5_Pin|LCD_R6_Pin|LCD_R4_Pin
                          |LCD_R3_Pin|LCD_R1_Pin|LCD_R2_Pin;
  GPIO_InitStruct.Mode = GPIO_MODE_AF_PP;
  GPIO_InitStruct.Pull = GPIO_NOPULL;
  GPIO_InitStruct.Speed = GPIO_SPEED_FREQ_LOW;
  GPIO_InitStruct.Alternate = GPIO_AF14_LTDC;
  HAL_GPIO_Init(GPIOJ, &GPIO_InitStruct);

  /*Configure GPIO pin : OTG_FS_VBUS_Pin */
  GPIO_InitStruct.Pin = OTG_FS_VBUS_Pin;
  GPIO_InitStruct.Mode = GPIO_MODE_INPUT;
  GPIO_InitStruct.Pull = GPIO_NOPULL;
  HAL_GPIO_Init(OTG_FS_VBUS_GPIO_Port, &GPIO_InitStruct);

  /*Configure GPIO pin : Audio_INT_Pin */
  GPIO_InitStruct.Pin = Audio_INT_Pin;
  GPIO_InitStruct.Mode = GPIO_MODE_EVT_RISING;
  GPIO_InitStruct.Pull = GPIO_NOPULL;
  HAL_GPIO_Init(Audio_INT_GPIO_Port, &GPIO_InitStruct);

  /*Configure GPIO pins : FMC_D2_Pin FMC_D3_Pin FMC_D1_Pin FMC_D15_Pin
                           FMC_D0_Pin FMC_D14_Pin FMC_D13_Pin */
  GPIO_InitStruct.Pin = FMC_D2_Pin|FMC_D3_Pin|FMC_D1_Pin|FMC_D15_Pin
                          |FMC_D0_Pin|FMC_D14_Pin|FMC_D13_Pin;
  GPIO_InitStruct.Mode = GPIO_MODE_AF_PP;
  GPIO_InitStruct.Pull = GPIO_NOPULL;
  GPIO_InitStruct.Speed = GPIO_SPEED_FREQ_VERY_HIGH;
  GPIO_InitStruct.Alternate = GPIO_AF12_FMC;
  HAL_GPIO_Init(GPIOD, &GPIO_InitStruct);

  /*Configure GPIO pins : OTG_FS_P_Pin OTG_FS_N_Pin OTG_FS_ID_Pin */
  GPIO_InitStruct.Pin = OTG_FS_P_Pin|OTG_FS_N_Pin|OTG_FS_ID_Pin;
  GPIO_InitStruct.Mode = GPIO_MODE_AF_PP;
  GPIO_InitStruct.Pull = GPIO_NOPULL;
  GPIO_InitStruct.Speed = GPIO_SPEED_FREQ_VERY_HIGH;
  GPIO_InitStruct.Alternate = GPIO_AF10_OTG_FS;
  HAL_GPIO_Init(GPIOA, &GPIO_InitStruct);

  /*Configure GPIO pins : SAI2_MCLKA_Pin SAI2_SCKA_Pin SAI2_FSA_Pin SAI2_SDA_Pin */
  GPIO_InitStruct.Pin = SAI2_MCLKA_Pin|SAI2_SCKA_Pin|SAI2_FSA_Pin|SAI2_SDA_Pin;
  GPIO_InitStruct.Mode = GPIO_MODE_AF_PP;
  GPIO_InitStruct.Pull = GPIO_NOPULL;
  GPIO_InitStruct.Speed = GPIO_SPEED_FREQ_LOW;
  GPIO_InitStruct.Alternate = GPIO_AF10_SAI2;
  HAL_GPIO_Init(GPIOI, &GPIO_InitStruct);

  /*Configure GPIO pins : LCD_DE_Pin LCD_B7_Pin LCD_B6_Pin LCD_B5_Pin
                           LCD_G6_Pin LCD_G7_Pin LCD_G5_Pin */
  GPIO_InitStruct.Pin = LCD_DE_Pin|LCD_B7_Pin|LCD_B6_Pin|LCD_B5_Pin
                          |LCD_G6_Pin|LCD_G7_Pin|LCD_G5_Pin;
  GPIO_InitStruct.Mode = GPIO_MODE_AF_PP;
  GPIO_InitStruct.Pull = GPIO_NOPULL;
  GPIO_InitStruct.Speed = GPIO_SPEED_FREQ_LOW;
  GPIO_InitStruct.Alternate = GPIO_AF14_LTDC;
  HAL_GPIO_Init(GPIOK, &GPIO_InitStruct);

  /*Configure GPIO pin : LCD_B4_Pin */
  GPIO_InitStruct.Pin = LCD_B4_Pin;
  GPIO_InitStruct.Mode = GPIO_MODE_AF_PP;
  GPIO_InitStruct.Pull = GPIO_NOPULL;
  GPIO_InitStruct.Speed = GPIO_SPEED_FREQ_LOW;
  GPIO_InitStruct.Alternate = GPIO_AF9_LTDC;
  HAL_GPIO_Init(LCD_B4_GPIO_Port, &GPIO_InitStruct);

  /*Configure GPIO pin : SAI2_SDB_Pin */
  GPIO_InitStruct.Pin = SAI2_SDB_Pin;
  GPIO_InitStruct.Mode = GPIO_MODE_AF_PP;
  GPIO_InitStruct.Pull = GPIO_NOPULL;
  GPIO_InitStruct.Speed = GPIO_SPEED_FREQ_LOW;
  GPIO_InitStruct.Alternate = GPIO_AF10_SAI2;
  HAL_GPIO_Init(SAI2_SDB_GPIO_Port, &GPIO_InitStruct);

  /*Configure GPIO pin : OTG_FS_PowerSwitchOn_Pin */
  GPIO_InitStruct.Pin = OTG_FS_PowerSwitchOn_Pin;
  GPIO_InitStruct.Mode = GPIO_MODE_OUTPUT_PP;
  GPIO_InitStruct.Pull = GPIO_NOPULL;
  GPIO_InitStruct.Speed = GPIO_SPEED_FREQ_LOW;
  HAL_GPIO_Init(OTG_FS_PowerSwitchOn_GPIO_Port, &GPIO_InitStruct);

  /*Configure GPIO pin : DCMI_D5_Pin */
  GPIO_InitStruct.Pin = DCMI_D5_Pin;
  GPIO_InitStruct.Mode = GPIO_MODE_AF_PP;
  GPIO_InitStruct.Pull = GPIO_NOPULL;
  GPIO_InitStruct.Speed = GPIO_SPEED_FREQ_LOW;
  GPIO_InitStruct.Alternate = GPIO_AF13_DCMI;
  HAL_GPIO_Init(DCMI_D5_GPIO_Port, &GPIO_InitStruct);

  /*Configure GPIO pins : ARDUINO_D7_Pin ARDUINO_D8_Pin LCD_DISP_Pin */
  GPIO_InitStruct.Pin = ARDUINO_D7_Pin|ARDUINO_D8_Pin|LCD_DISP_Pin;
  GPIO_InitStruct.Mode = GPIO_MODE_OUTPUT_PP;
  GPIO_InitStruct.Pull = GPIO_NOPULL;
  GPIO_InitStruct.Speed = GPIO_SPEED_FREQ_LOW;
  HAL_GPIO_Init(GPIOI, &GPIO_InitStruct);

  /*Configure GPIO pin : uSD_Detect_Pin */
  GPIO_InitStruct.Pin = uSD_Detect_Pin;
  GPIO_InitStruct.Mode = GPIO_MODE_INPUT;
  GPIO_InitStruct.Pull = GPIO_NOPULL;
  HAL_GPIO_Init(uSD_Detect_GPIO_Port, &GPIO_InitStruct);

  /*Configure GPIO pins : FMC_A0_Pin FMC_A1_Pin FMC_A2_Pin FMC_A3_Pin
                           FMC_A4_Pin FMC_A5_Pin FMC_A6_Pin FMC_A9_Pin
                           FMC_A7_Pin FMC_A8_Pin FMC_SDNRAS_Pin */
  GPIO_InitStruct.Pin = FMC_A0_Pin|FMC_A1_Pin|FMC_A2_Pin|FMC_A3_Pin
                          |FMC_A4_Pin|FMC_A5_Pin|FMC_A6_Pin|FMC_A9_Pin
                          |FMC_A7_Pin|FMC_A8_Pin|FMC_SDNRAS_Pin;
  GPIO_InitStruct.Mode = GPIO_MODE_AF_PP;
  GPIO_InitStruct.Pull = GPIO_NOPULL;
  GPIO_InitStruct.Speed = GPIO_SPEED_FREQ_VERY_HIGH;
  GPIO_InitStruct.Alternate = GPIO_AF12_FMC;
  HAL_GPIO_Init(GPIOF, &GPIO_InitStruct);

  /*Configure GPIO pins : LCD_HSYNC_Pin LCD_VSYNC_Pin LCD_R0_Pin LCD_CLK_Pin */
  GPIO_InitStruct.Pin = LCD_HSYNC_Pin|LCD_VSYNC_Pin|LCD_R0_Pin|LCD_CLK_Pin;
  GPIO_InitStruct.Mode = GPIO_MODE_AF_PP;
  GPIO_InitStruct.Pull = GPIO_NOPULL;
  GPIO_InitStruct.Speed = GPIO_SPEED_FREQ_LOW;
  GPIO_InitStruct.Alternate = GPIO_AF14_LTDC;
  HAL_GPIO_Init(GPIOI, &GPIO_InitStruct);

  /*Configure GPIO pin : LCD_BL_CTRL_Pin */
  GPIO_InitStruct.Pin = LCD_BL_CTRL_Pin;
  GPIO_InitStruct.Mode = GPIO_MODE_OUTPUT_PP;
  GPIO_InitStruct.Pull = GPIO_NOPULL;
  GPIO_InitStruct.Speed = GPIO_SPEED_FREQ_LOW;
  HAL_GPIO_Init(LCD_BL_CTRL_GPIO_Port, &GPIO_InitStruct);

  /*Configure GPIO pin : DCMI_VSYNC_Pin */
  GPIO_InitStruct.Pin = DCMI_VSYNC_Pin;
  GPIO_InitStruct.Mode = GPIO_MODE_AF_PP;
  GPIO_InitStruct.Pull = GPIO_NOPULL;
  GPIO_InitStruct.Speed = GPIO_SPEED_FREQ_LOW;
  GPIO_InitStruct.Alternate = GPIO_AF13_DCMI;
  HAL_GPIO_Init(DCMI_VSYNC_GPIO_Port, &GPIO_InitStruct);

  /*Configure GPIO pin : OTG_FS_OverCurrent_Pin */
  GPIO_InitStruct.Pin = OTG_FS_OverCurrent_Pin;
  GPIO_InitStruct.Mode = GPIO_MODE_INPUT;
  GPIO_InitStruct.Pull = GPIO_NOPULL;
  HAL_GPIO_Init(OTG_FS_OverCurrent_GPIO_Port, &GPIO_InitStruct);

  /*Configure GPIO pin : SDMMC_D0_Pin */
  GPIO_InitStruct.Pin = SDMMC_D0_Pin;
  GPIO_InitStruct.Mode = GPIO_MODE_AF_PP;
  GPIO_InitStruct.Pull = GPIO_NOPULL;
  GPIO_InitStruct.Speed = GPIO_SPEED_FREQ_VERY_HIGH;
  GPIO_InitStruct.Alternate = GPIO_AF12_SDMMC1;
  HAL_GPIO_Init(SDMMC_D0_GPIO_Port, &GPIO_InitStruct);

  /*Configure GPIO pins : TP3_Pin NC2_Pin */
  GPIO_InitStruct.Pin = TP3_Pin|NC2_Pin;
  GPIO_InitStruct.Mode = GPIO_MODE_INPUT;
  GPIO_InitStruct.Pull = GPIO_NOPULL;
  HAL_GPIO_Init(GPIOH, &GPIO_InitStruct);

  /*Configure GPIO pin : ARDUINO_SCK_D13_Pin */
  GPIO_InitStruct.Pin = ARDUINO_SCK_D13_Pin;
  GPIO_InitStruct.Mode = GPIO_MODE_AF_PP;
  GPIO_InitStruct.Pull = GPIO_NOPULL;
  GPIO_InitStruct.Speed = GPIO_SPEED_FREQ_LOW;
  GPIO_InitStruct.Alternate = GPIO_AF5_SPI2;
  HAL_GPIO_Init(ARDUINO_SCK_D13_GPIO_Port, &GPIO_InitStruct);

  /*Configure GPIO pin : DCMI_PWR_EN_Pin */
  GPIO_InitStruct.Pin = DCMI_PWR_EN_Pin;
  GPIO_InitStruct.Mode = GPIO_MODE_OUTPUT_PP;
  GPIO_InitStruct.Pull = GPIO_NOPULL;
  GPIO_InitStruct.Speed = GPIO_SPEED_FREQ_LOW;
  HAL_GPIO_Init(DCMI_PWR_EN_GPIO_Port, &GPIO_InitStruct);

  /*Configure GPIO pins : DCMI_D4_Pin DCMI_D3_Pin DCMI_D0_Pin DCMI_D2_Pin
                           DCMI_D1_Pin */
  GPIO_InitStruct.Pin = DCMI_D4_Pin|DCMI_D3_Pin|DCMI_D0_Pin|DCMI_D2_Pin
                          |DCMI_D1_Pin;
  GPIO_InitStruct.Mode = GPIO_MODE_AF_PP;
  GPIO_InitStruct.Pull = GPIO_NOPULL;
  GPIO_InitStruct.Speed = GPIO_SPEED_FREQ_LOW;
  GPIO_InitStruct.Alternate = GPIO_AF13_DCMI;
  HAL_GPIO_Init(GPIOH, &GPIO_InitStruct);

  /*Configure GPIO pin : ARDUINO_PWM_CS_D5_Pin */
  GPIO_InitStruct.Pin = ARDUINO_PWM_CS_D5_Pin;
  GPIO_InitStruct.Mode = GPIO_MODE_AF_PP;
  GPIO_InitStruct.Pull = GPIO_NOPULL;
  GPIO_InitStruct.Speed = GPIO_SPEED_FREQ_LOW;
  GPIO_InitStruct.Alternate = GPIO_AF2_TIM5;
  HAL_GPIO_Init(ARDUINO_PWM_CS_D5_GPIO_Port, &GPIO_InitStruct);

  /*Configure GPIO pin : VCP_TX_Pin */
  GPIO_InitStruct.Pin = VCP_TX_Pin;
  GPIO_InitStruct.Mode = GPIO_MODE_AF_PP;
  GPIO_InitStruct.Pull = GPIO_NOPULL;
  GPIO_InitStruct.Speed = GPIO_SPEED_FREQ_LOW;
  GPIO_InitStruct.Alternate = GPIO_AF7_USART1;
  HAL_GPIO_Init(VCP_TX_GPIO_Port, &GPIO_InitStruct);

  /*Configure GPIO pin : ARDUINO_PWM_D10_Pin */
  GPIO_InitStruct.Pin = ARDUINO_PWM_D10_Pin;
  GPIO_InitStruct.Mode = GPIO_MODE_AF_PP;
  GPIO_InitStruct.Pull = GPIO_NOPULL;
  GPIO_InitStruct.Speed = GPIO_SPEED_FREQ_LOW;
  GPIO_InitStruct.Alternate = GPIO_AF1_TIM1;
  HAL_GPIO_Init(ARDUINO_PWM_D10_GPIO_Port, &GPIO_InitStruct);

  /*Configure GPIO pin : LCD_INT_Pin */
  GPIO_InitStruct.Pin = LCD_INT_Pin;
  GPIO_InitStruct.Mode = GPIO_MODE_EVT_RISING;
  GPIO_InitStruct.Pull = GPIO_NOPULL;
  HAL_GPIO_Init(LCD_INT_GPIO_Port, &GPIO_InitStruct);

  /*Configure GPIO pins : ARDUINO_RX_D0_Pin ARDUINO_TX_D1_Pin */
  GPIO_InitStruct.Pin = ARDUINO_RX_D0_Pin|ARDUINO_TX_D1_Pin;
  GPIO_InitStruct.Mode = GPIO_MODE_AF_PP;
  GPIO_InitStruct.Pull = GPIO_NOPULL;
  GPIO_InitStruct.Speed = GPIO_SPEED_FREQ_VERY_HIGH;
  GPIO_InitStruct.Alternate = GPIO_AF8_USART6;
  HAL_GPIO_Init(GPIOC, &GPIO_InitStruct);

  /*Configure GPIO pin : ULPI_NXT_Pin */
  GPIO_InitStruct.Pin = ULPI_NXT_Pin;
  GPIO_InitStruct.Mode = GPIO_MODE_AF_PP;
  GPIO_InitStruct.Pull = GPIO_NOPULL;
  GPIO_InitStruct.Speed = GPIO_SPEED_FREQ_VERY_HIGH;
  GPIO_InitStruct.Alternate = GPIO_AF10_OTG_HS;
  HAL_GPIO_Init(ULPI_NXT_GPIO_Port, &GPIO_InitStruct);

  /*Configure GPIO pins : FMC_SDNME_Pin FMC_SDNE0_Pin */
  GPIO_InitStruct.Pin = FMC_SDNME_Pin|FMC_SDNE0_Pin;
  GPIO_InitStruct.Mode = GPIO_MODE_AF_PP;
  GPIO_InitStruct.Pull = GPIO_NOPULL;
  GPIO_InitStruct.Speed = GPIO_SPEED_FREQ_VERY_HIGH;
  GPIO_InitStruct.Alternate = GPIO_AF12_FMC;
  HAL_GPIO_Init(GPIOH, &GPIO_InitStruct);

  /*Configure GPIO pins : ARDUINO_D4_Pin ARDUINO_D2_Pin EXT_RST_Pin */
  GPIO_InitStruct.Pin = ARDUINO_D4_Pin|ARDUINO_D2_Pin|EXT_RST_Pin;
  GPIO_InitStruct.Mode = GPIO_MODE_OUTPUT_PP;
  GPIO_InitStruct.Pull = GPIO_NOPULL;
  GPIO_InitStruct.Speed = GPIO_SPEED_FREQ_LOW;
  HAL_GPIO_Init(GPIOG, &GPIO_InitStruct);

  /*Configure GPIO pins : ARDUINO_A4_Pin ARDUINO_A5_Pin ARDUINO_A1_Pin ARDUINO_A2_Pin
                           ARDUINO_A3_Pin */
  GPIO_InitStruct.Pin = ARDUINO_A4_Pin|ARDUINO_A5_Pin|ARDUINO_A1_Pin|ARDUINO_A2_Pin
                          |ARDUINO_A3_Pin;
  GPIO_InitStruct.Mode = GPIO_MODE_ANALOG;
  GPIO_InitStruct.Pull = GPIO_NOPULL;
  HAL_GPIO_Init(GPIOF, &GPIO_InitStruct);

  /*Configure GPIO pin : FMC_SDCKE0_Pin */
  GPIO_InitStruct.Pin = FMC_SDCKE0_Pin;
  GPIO_InitStruct.Mode = GPIO_MODE_AF_PP;
  GPIO_InitStruct.Pull = GPIO_NOPULL;
  GPIO_InitStruct.Speed = GPIO_SPEED_FREQ_VERY_HIGH;
  GPIO_InitStruct.Alternate = GPIO_AF12_FMC;
  HAL_GPIO_Init(FMC_SDCKE0_GPIO_Port, &GPIO_InitStruct);

  /*Configure GPIO pins : ULPI_STP_Pin ULPI_DIR_Pin */
  GPIO_InitStruct.Pin = ULPI_STP_Pin|ULPI_DIR_Pin;
  GPIO_InitStruct.Mode = GPIO_MODE_AF_PP;
  GPIO_InitStruct.Pull = GPIO_NOPULL;
  GPIO_InitStruct.Speed = GPIO_SPEED_FREQ_VERY_HIGH;
  GPIO_InitStruct.Alternate = GPIO_AF10_OTG_HS;
  HAL_GPIO_Init(GPIOC, &GPIO_InitStruct);

  /*Configure GPIO pins : RMII_MDC_Pin RMII_RXD0_Pin RMII_RXD1_Pin */
  GPIO_InitStruct.Pin = RMII_MDC_Pin|RMII_RXD0_Pin|RMII_RXD1_Pin;
  GPIO_InitStruct.Mode = GPIO_MODE_AF_PP;
  GPIO_InitStruct.Pull = GPIO_NOPULL;
  GPIO_InitStruct.Speed = GPIO_SPEED_FREQ_VERY_HIGH;
  GPIO_InitStruct.Alternate = GPIO_AF11_ETH;
  HAL_GPIO_Init(GPIOC, &GPIO_InitStruct);

  /*Configure GPIO pin : PB2 */
  GPIO_InitStruct.Pin = GPIO_PIN_2;
  GPIO_InitStruct.Mode = GPIO_MODE_AF_PP;
  GPIO_InitStruct.Pull = GPIO_NOPULL;
  GPIO_InitStruct.Speed = GPIO_SPEED_FREQ_VERY_HIGH;
  GPIO_InitStruct.Alternate = GPIO_AF9_QUADSPI;
  HAL_GPIO_Init(GPIOB, &GPIO_InitStruct);

  /*Configure GPIO pins : QSPI_D1_Pin QSPI_D3_Pin QSPI_D0_Pin */
  GPIO_InitStruct.Pin = QSPI_D1_Pin|QSPI_D3_Pin|QSPI_D0_Pin;
  GPIO_InitStruct.Mode = GPIO_MODE_AF_PP;
  GPIO_InitStruct.Pull = GPIO_NOPULL;
  GPIO_InitStruct.Speed = GPIO_SPEED_FREQ_VERY_HIGH;
  GPIO_InitStruct.Alternate = GPIO_AF9_QUADSPI;
  HAL_GPIO_Init(GPIOD, &GPIO_InitStruct);

  /*Configure GPIO pin : RMII_RXER_Pin */
  GPIO_InitStruct.Pin = RMII_RXER_Pin;
  GPIO_InitStruct.Mode = GPIO_MODE_INPUT;
  GPIO_InitStruct.Pull = GPIO_NOPULL;
  HAL_GPIO_Init(RMII_RXER_GPIO_Port, &GPIO_InitStruct);

  /*Configure GPIO pins : RMII_REF_CLK_Pin RMII_MDIO_Pin RMII_CRS_DV_Pin */
  GPIO_InitStruct.Pin = RMII_REF_CLK_Pin|RMII_MDIO_Pin|RMII_CRS_DV_Pin;
  GPIO_InitStruct.Mode = GPIO_MODE_AF_PP;
  GPIO_InitStruct.Pull = GPIO_NOPULL;
  GPIO_InitStruct.Speed = GPIO_SPEED_FREQ_VERY_HIGH;
  GPIO_InitStruct.Alternate = GPIO_AF11_ETH;
  HAL_GPIO_Init(GPIOA, &GPIO_InitStruct);

  /*Configure GPIO pin : ARDUINO_A0_Pin */
  GPIO_InitStruct.Pin = ARDUINO_A0_Pin;
  GPIO_InitStruct.Mode = GPIO_MODE_ANALOG;
  GPIO_InitStruct.Pull = GPIO_NOPULL;
  HAL_GPIO_Init(ARDUINO_A0_GPIO_Port, &GPIO_InitStruct);

  /*Configure GPIO pins : DCMI_HSYNC_Pin PA6 */
  GPIO_InitStruct.Pin = DCMI_HSYNC_Pin|GPIO_PIN_6;
  GPIO_InitStruct.Mode = GPIO_MODE_AF_PP;
  GPIO_InitStruct.Pull = GPIO_NOPULL;
  GPIO_InitStruct.Speed = GPIO_SPEED_FREQ_LOW;
  GPIO_InitStruct.Alternate = GPIO_AF13_DCMI;
  HAL_GPIO_Init(GPIOA, &GPIO_InitStruct);

  /*Configure GPIO pins : LCD_SCL_Pin LCD_SDA_Pin */
  GPIO_InitStruct.Pin = LCD_SCL_Pin|LCD_SDA_Pin;
  GPIO_InitStruct.Mode = GPIO_MODE_AF_OD;
  GPIO_InitStruct.Pull = GPIO_PULLUP;
  GPIO_InitStruct.Speed = GPIO_SPEED_FREQ_VERY_HIGH;
  GPIO_InitStruct.Alternate = GPIO_AF4_I2C3;
  HAL_GPIO_Init(GPIOH, &GPIO_InitStruct);

  /*Configure GPIO pins : ULPI_CLK_Pin ULPI_D0_Pin */
  GPIO_InitStruct.Pin = ULPI_CLK_Pin|ULPI_D0_Pin;
  GPIO_InitStruct.Mode = GPIO_MODE_AF_PP;
  GPIO_InitStruct.Pull = GPIO_NOPULL;
  GPIO_InitStruct.Speed = GPIO_SPEED_FREQ_VERY_HIGH;
  GPIO_InitStruct.Alternate = GPIO_AF10_OTG_HS;
  HAL_GPIO_Init(GPIOA, &GPIO_InitStruct);

  /*Configure GPIO pin : ARDUINO_PWM_D6_Pin */
  GPIO_InitStruct.Pin = ARDUINO_PWM_D6_Pin;
  GPIO_InitStruct.Mode = GPIO_MODE_AF_PP;
  GPIO_InitStruct.Pull = GPIO_NOPULL;
  GPIO_InitStruct.Speed = GPIO_SPEED_FREQ_LOW;
  GPIO_InitStruct.Alternate = GPIO_AF9_TIM12;
  HAL_GPIO_Init(ARDUINO_PWM_D6_GPIO_Port, &GPIO_InitStruct);

  /*Configure GPIO pins : ARDUINO_MISO_D12_Pin ARDUINO_MOSI_PWM_D11_Pin */
  GPIO_InitStruct.Pin = ARDUINO_MISO_D12_Pin|ARDUINO_MOSI_PWM_D11_Pin;
  GPIO_InitStruct.Mode = GPIO_MODE_AF_PP;
  GPIO_InitStruct.Pull = GPIO_NOPULL;
  GPIO_InitStruct.Speed = GPIO_SPEED_FREQ_LOW;
  GPIO_InitStruct.Alternate = GPIO_AF5_SPI2;
  HAL_GPIO_Init(GPIOB, &GPIO_InitStruct);

}

/* USER CODE BEGIN 4 */
static void Task1_Handler(void* parameter)
{

	while(1){

		SEGGER_SYSVIEW_PrintfHost("WhiteLED");
		HAL_GPIO_WritePin(ARDUINO_D2_GPIO_Port, ARDUINO_D2_Pin, GPIO_PIN_SET);
		vTaskDelay(100/portTICK_PERIOD_MS);
		HAL_GPIO_WritePin(ARDUINO_D2_GPIO_Port, ARDUINO_D2_Pin, GPIO_PIN_RESET);
		vTaskDelay(100/portTICK_PERIOD_MS);
	}

}
static void Task2_Handler(void* parameter)
{

	while(1){

				SEGGER_SYSVIEW_PrintfHost("GreenLED");
				HAL_GPIO_WritePin(ARDUINO_D7_GPIO_Port, ARDUINO_D7_Pin, GPIO_PIN_SET);
				vTaskDelay(700/portTICK_PERIOD_MS);
				HAL_GPIO_WritePin(ARDUINO_D7_GPIO_Port, ARDUINO_D7_Pin, GPIO_PIN_RESET);
				vTaskDelay(700/portTICK_PERIOD_MS);
		}

}

static void Task3_Handler(void* parameter)
{

	while(1){

		  if(HAL_GPIO_ReadPin(USER_BUTTON_GPIO_Port, USER_BUTTON_Pin))			//Check if Button Pressed
			  {
			  	  SEGGER_SYSVIEW_PrintfHost("ButtonLED");
			  	  HAL_GPIO_WritePin(ARDUINO_D4_GPIO_Port, ARDUINO_D4_Pin, GPIO_PIN_SET);
			  	  vTaskDelay(5/portTICK_PERIOD_MS);

			  }
		  else
			  {
			  	  HAL_GPIO_WritePin(ARDUINO_D4_GPIO_Port, ARDUINO_D4_Pin, GPIO_PIN_RESET);
			  	  vTaskDelay(5/portTICK_PERIOD_MS);
			  }

		}

}
/* USER CODE END 4 */

void HAL_TIM_PeriodElapsedCallback(TIM_HandleTypeDef *htim)
{
  if (htim->Instance == TIM6) {
    HAL_IncTick();
  }
}

void Error_Handler(void)
{
}

/************************ (C) COPYRIGHT STMicroelectronics *****END OF FILE****/
